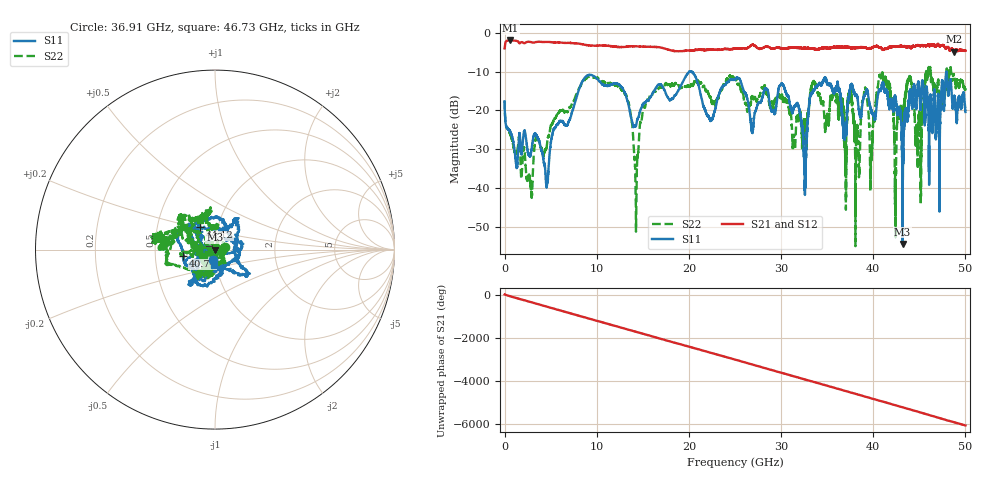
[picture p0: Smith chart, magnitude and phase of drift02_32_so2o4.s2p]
!Created with skrf (http://scikit-rf.org).
# Hz S RI R 50.0
!freq ReS11 ImS11 ReS21 ImS21 ReS12 ImS12 ReS22 ImS22
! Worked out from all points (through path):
!   10001 points, 300 kHz to 50 GHz, reference 50 ohm
!   highest |S21| = -2.00 dB at 610.3 MHz (marker M1); lowest = -4.9 dB at 48.77 GHz (marker M2)
!   group delay of S21, straight-line fit = 337 ps
!   lowest |S11| = -54.5 dB at 43.19 GHz (marker M3), VSWR 1.00, Z = 49.8 - j0.0644 ohm
!   |S11| at or under -10 dB: start of sweep to 20.06 GHz; 20.20871 GHz to 20.22108 GHz (12.37 MHz wide, 0.0612 % of centre); 20.24 GHz to end of sweep (the widest 3 of 4)
!   |S22| runs from -55.0 to -8.8 dB; largest |S21 - S12| = 0.034
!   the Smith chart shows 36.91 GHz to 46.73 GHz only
!   S11 on the Smith chart (normalised r, x): 36.91 GHz: 0.97, -0.11; 40.74 GHz: 0.70, -0.05; 44.12 GHz: 0.82, +0.21; 46.73 GHz: 0.98, -0.17
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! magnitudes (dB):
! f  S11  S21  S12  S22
! 300 kHz  -17.7  -4.0  -4.0  -17.5
! 610.3 MHz  -25.4  -2.0  -2.0  -26.3
! 4.565 GHz  -39.8  -2.4  -2.4  -29.3
! 8.335 GHz  -13.0  -2.9  -2.9  -13.2
! 13.01 GHz  -15.3  -3.7  -3.6  -15.7
! 14.28 GHz  -23.8  -3.5  -3.5  -46.9
! 16.67 GHz  -13.4  -3.7  -3.7  -14.5
! 25 GHz  -12.1  -4.1  -4.1  -12.1
! 32.58 GHz  -38.2  -4.0  -4.0  -24.3
! 33.34 GHz  -15.7  -4.0  -4.1  -13.6
! 36.91 GHz  -24.5  -3.7  -3.7  -25.1
! 39.14 GHz  -15.7  -3.9  -3.9  -14.2
! 39.81 GHz  -20.2  -4.0  -4.0  -31.7
! 40.74 GHz  -14.9  -3.8  -3.8  -11.3
! 41.67 GHz  -18.4  -3.8  -3.9  -12.5
! 42.41 GHz  -17.0  -3.6  -3.7  -41.6
! 43.19 GHz  -54.5  -3.5  -3.6  -21.5
! 44.12 GHz  -16.5  -3.9  -3.9  -12.5
! 44.99 GHz  -14.6  -3.4  -3.3  -21.8
! 46.73 GHz  -21.3  -3.5  -3.5  -14.7
! 48.77 GHz  -17.0  -4.9  -4.8  -10.9
! 50 GHz  -20.4  -4.6  -4.6  -15.0
